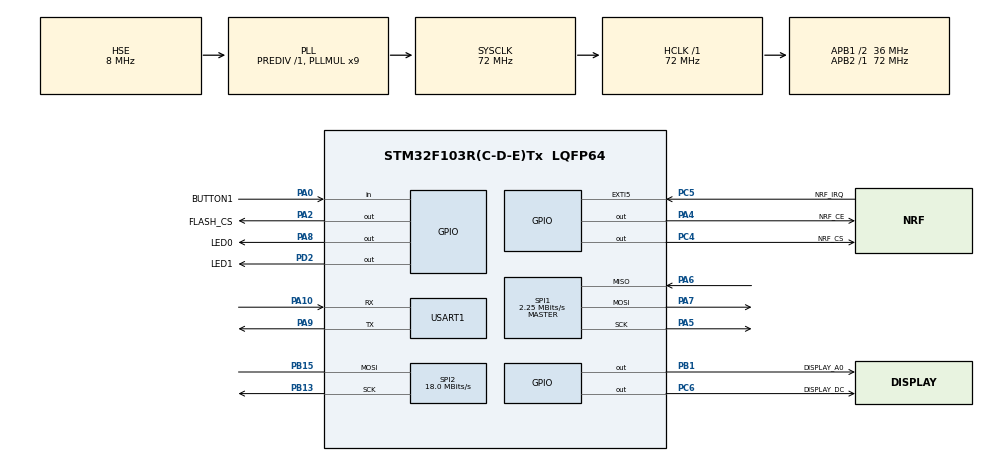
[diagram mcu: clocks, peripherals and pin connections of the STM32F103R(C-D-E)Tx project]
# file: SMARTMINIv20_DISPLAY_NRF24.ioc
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Mcu.Family=STM32F1
Mcu.Name=STM32F103R(C-D-E)Tx
Mcu.Package=LQFP64
NVIC.PriorityGroup=NVIC_PRIORITYGROUP_4
PA0-WKUP.GPIO_Label=BUTTON1
PA0-WKUP.Signal=GPIO_Input
PA10.Mode=Asynchronous
PA10.Signal=USART1_RX
PA13.Mode=Serial_Wire
PA13.Signal=SYS_JTMS-SWDIO
PA14.Mode=Serial_Wire
PA14.Signal=SYS_JTCK-SWCLK
PA2.GPIO_Label=FLASH_CS
PA2.Signal=GPIO_Output
PA4.GPIO_Label=NRF_CE
PA4.GPIO_Speed=GPIO_SPEED_FREQ_HIGH
PA4.Signal=GPIO_Output
PA5.Mode=Full_Duplex_Master
PA5.Signal=SPI1_SCK
PA6.Mode=Full_Duplex_Master
PA6.Signal=SPI1_MISO
PA7.Mode=Full_Duplex_Master
PA7.Signal=SPI1_MOSI
PA8.GPIO_Label=LED0
PA8.Signal=GPIO_Output
PA9.Mode=Asynchronous
PA9.Signal=USART1_TX
PB1.GPIO_Label=DISPLAY_A0
PB1.GPIO_Speed=GPIO_SPEED_FREQ_HIGH
PB1.Signal=GPIO_Output
PB13.Mode=Simplex_Bidirectional_Master
PB13.Signal=SPI2_SCK
PB15.Mode=Simplex_Bidirectional_Master
PB15.Signal=SPI2_MOSI
PC14-OSC32_IN.Mode=LSE-External-Oscillator
PC14-OSC32_IN.Signal=RCC_OSC32_IN
PC15-OSC32_OUT.Mode=LSE-External-Oscillator
PC15-OSC32_OUT.Signal=RCC_OSC32_OUT
PC4.GPIO_Label=NRF_CS
PC4.GPIO_Speed=GPIO_SPEED_FREQ_HIGH
PC4.Signal=GPIO_Output
PC5.GPIO_Label=NRF_IRQ
PC5.Signal=GPXTI5
PC6.GPIO_Label=DISPLAY_DC
PC6.GPIO_Speed=GPIO_SPEED_FREQ_HIGH
PC6.Signal=GPIO_Output
PD0-OSC_IN.Mode=HSE-External-Oscillator
PD0-OSC_IN.Signal=RCC_OSC_IN
PD1-OSC_OUT.Mode=HSE-External-Oscillator
PD1-OSC_OUT.Signal=RCC_OSC_OUT
PD2.GPIO_Label=LED1
PD2.Signal=GPIO_Output
ProjectManager.HeapSize=0x200
ProjectManager.StackSize=0x400
ProjectManager.TargetToolchain=STM32CubeIDE
RCC.AHBFreq_Value=72000000
RCC.APB1CLKDivider=RCC_HCLK_DIV2
RCC.APB1Freq_Value=36000000
RCC.APB1TimFreq_Value=72000000
RCC.APB2Freq_Value=72000000
RCC.APB2TimFreq_Value=72000000
RCC.HCLKFreq_Value=72000000
RCC.PLLMUL=RCC_PLL_MUL9
RCC.PLLSourceVirtual=RCC_PLLSOURCE_HSE
RCC.SYSCLKFreq_VALUE=72000000
RCC.SYSCLKSource=RCC_SYSCLKSOURCE_PLLCLK
RCC.USBFreq_Value=72000000
SPI1.BaudRatePrescaler=SPI_BAUDRATEPRESCALER_32
SPI1.CalculateBaudRate=2.25 MBits/s
SPI1.Direction=SPI_DIRECTION_2LINES
SPI1.Mode=SPI_MODE_MASTER
SPI1.VirtualType=VM_MASTER
SPI2.BaudRatePrescaler=SPI_BAUDRATEPRESCALER_2
SPI2.CalculateBaudRate=18.0 MBits/s
SPI2.Direction=SPI_DIRECTION_1LINE
SPI2.Mode=SPI_MODE_MASTER
SPI2.VirtualType=VM_MASTER
TIM3.Prescaler=72-1
USART1.VirtualMode=VM_ASYNC
VP_RTC_VS_RTC_Activate.Mode=RTC_Enabled
VP_RTC_VS_RTC_Calendar.Mode=RTC_Calendar
VP_TIM3_VS_ClockSourceINT.Mode=Internal
board=custom

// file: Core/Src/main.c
/* USER CODE BEGIN Header */
/**
 ******************************************************************************
 * @file           : main.c
 * @brief          : Main program body
 ******************************************************************************
 * @attention
 *
 * Copyright (c) 2025 STMicroelectronics.
 * All rights reserved.
 *
 * This software is licensed under terms that can be found in the LICENSE file
 * in the root directory of this software component.
 * If no LICENSE file comes with this software, it is provided AS-IS.
 *
 ******************************************************************************
 */
/* USER CODE END Header */
#include "main.h"

/* USER CODE BEGIN Includes */
#include <stdio.h>
#include <string.h>
#include "NRF24.h"

#include "NRF24_reg_addresses.h"
#include "fonts.h"
#include "st7735.h"
/* USER CODE END Includes */

/* USER CODE BEGIN PTD */
#define spi_w_timeout 50  // 50ms for write operations
#define spi_r_timeout 50  // 50ms for read operations
#define spi_rw_timeout 100 // 100ms for full duplex

/* USER CODE END PTD */

/* USER CODE BEGIN PD */
#define TANK

#define PIPE 1
#define MY_CHANNEL 0x6E

#if defined TANK
#define PAYLOAD_SIZE 1 // it is 4 in arduino code and on sender
#else
#define PAYLOAD_SIZE 32
#endif

//+---------+-------+-------+-------+----------+-------+-------+-------+
//|  Bit 7  | Bit 6 | Bit 5 | Bit 4 |  Bit 3   | Bit 2 | Bit 1 | Bit 0 |
//+--------------------------------------------------------------------+
//| leftDir |<------ leftSpeed ---->| rightDir | <--- rightSpeed --->  |
//+--------------------------------------------------------------------+

const uint64_t deviceID = 0xE8E8F0F0E1LL;  // Define the ID for this slave
const uint64_t transmitterId = 0x544d52687CLL;
// Pipe and address matching
uint8_t tx_addr[5] = { 0x7C, 0x68, 0x52, 0x4D, 0x54 }; // transmitterId in little-endian
uint8_t rx_addr[5] = { 0xE1, 0xF0, 0xF0, 0xE8, 0xE8 }; // deviceID in little-endian
uint16_t data = 0;

uint8_t dataR[PAYLOAD_SIZE];

/* USER CODE END PD */

RTC_HandleTypeDef hrtc;

SPI_HandleTypeDef hspi1;
SPI_HandleTypeDef hspi2;

TIM_HandleTypeDef htim3;

UART_HandleTypeDef huart1;

/* USER CODE BEGIN PV */
bool TX_DataRdy = false;
uint8_t RxData[32] = { 0x00 };
uint8_t rxcount = 0, rxBuf = { 0x00 };

uint8_t ack_payload[2] = { 12, 0 };

uint8_t *ack_bytes = (uint8_t*) ack_payload;
uint8_t ack_len = sizeof(ack_payload);
/* USER CODE END PV */

void SystemClock_Config(void);
static void MX_GPIO_Init(void);
static void MX_SPI2_Init(void);
static void MX_SPI1_Init(void);
static void MX_RTC_Init(void);
static void MX_USART1_UART_Init(void);
static void MX_TIM3_Init(void);

/* USER CODE BEGIN 0 */
void HAL_UART_RxCpltCallback(UART_HandleTypeDef *huart) {
	if ((rxBuf == '\n') || (rxcount >= 32)) //keep filling the RxData buffer until carriage return
			{
		TX_DataRdy = true; //Let the main loop know data is ready for transmit
		rxcount = 0;
	} else {
		RxData[rxcount++] = rxBuf;
	}
	HAL_UART_Receive_IT(&huart1, &rxBuf, 1);
}

//To get microsecond delays for the nRF24 module
void Delay_us(uint16_t us) {
	__HAL_TIM_SET_COUNTER(&htim3, 0);
	while (__HAL_TIM_GET_COUNTER(&htim3) < us)
		;
}

uint8_t noise_level[126] = { 0 };

bool nrf24_test_rpd() {
	uint8_t rpd = nrf24_r_reg(RPD, 1);
	return (rpd & 0x01) != 0;
}

void nrf24_scan_noise(void) {
	const int samples_per_channel = 100;

	printf("Scanning noise on channels 0–125 (%d samples each)...\r\n",
			samples_per_channel);

	for (uint8_t ch = 0; ch <= 125; ch++) {
		noise_level[ch] = 0;
		nrf24_set_channel(ch);

		for (int i = 0; i < samples_per_channel; i++) {
			nrf24_pwr_up();
			HAL_Delay(1); // 1 ms per sample
			if (nrf24_test_rpd()) {
				noise_level[ch]++;
			}
			nrf24_pwr_dwn();
		}

		// Show mini-bar chart
		printf("CH %3d [%3d]: ", ch, noise_level[ch]);
		int bars = noise_level[ch] / 5;  // max 20 bars for 100 samples
		for (int j = 0; j < bars; j++)
			printf("|");
		printf("\r\n");
	}

	printf("Done scanning.\r\n");
}
/* USER CODE END 0 */

int main(void)
{

  /* MCU Configuration--------------------------------------------------------*/

  /* Reset of all peripherals, Initializes the Flash interface and the Systick. */
  HAL_Init();

  /* Configure the system clock */
  SystemClock_Config();

  /* Initialize all configured peripherals */
  MX_GPIO_Init();
  MX_SPI2_Init();
  MX_SPI1_Init();
  MX_RTC_Init();
  MX_USART1_UART_Init();
  MX_TIM3_Init();
  /* USER CODE BEGIN 2 */
	HAL_UART_Receive_IT(&huart1, &rxBuf, 1);
	HAL_TIM_Base_Start(&htim3);
	nrf24_init();

	nrf24_listen();

	nrf24_tx_pwr(_0dbm); //	  radio.setPALevel(RF24_PA_MAX);

#if defined TANK
	// Communication parameters
	nrf24_data_rate(_250kbps);  // Must match transmitter
	nrf24_set_crc(en_crc, _1byte);

	// ACK configuration
	nrf24_auto_ack(PIPE, enable);  // Enable auto-ack for pipe 1
	nrf24_en_ack_pld(enable);      // Enable ACK payloads
#else
	nrf24_auto_ack_all(disable);

	nrf24_en_ack_pld(disable);
	nrf24_data_rate(_1mbps);
	nrf24_set_crc(no_crc, _1byte);
#endif
	nrf24_dpl(disable);

	nrf24_set_channel(MY_CHANNEL);
	nrf24_set_addr_width(5);

	// No dynamic payloads on pipes
	for (int i = 0; i < 6; i++) {
		nrf24_set_rx_dpl(i, disable);
	}

	// Set payload size for RX pipe 0 (only used pipe)
	nrf24_pipe_pld_size(PIPE, PAYLOAD_SIZE);  // Arduino uses pipe 1 for reading

	// Auto retransmit
	nrf24_auto_retr_delay(4);  // ~1500us
	nrf24_auto_retr_limit(10); // Retry 10 times

	nrf24_open_tx_pipe(rx_addr); //RX TX is mismatch intentionally
	nrf24_open_rx_pipe(PIPE, tx_addr); // Pipe 1 used in Arduino
#if defined TESTNRF
	uint8_t test_value = 0x2A;
	WriteReg(RF_CH, &test_value, 1);
	uint8_t read_value = ReadReg(RF_CH);

	if (read_value == test_value)
	{
	    printf("nRF24 is responsive! RF_CH = 0x%02X\r\n", read_value);
	}
	else
	{
	    printf("nRF24 communication failed. Read: 0x%02X, Expected: 0x%02X\r\n", read_value, test_value);
	}
#endif

	ST7735_Init();
	// Check border
	ST7735_FillScreen(ST7735_BLACK);
	ST7735_WriteString(0, 0, "OK", Font_7x10,
	ST7735_RED, ST7735_BLACK);

	HAL_GPIO_WritePin(LED0_GPIO_Port, LED0_Pin, GPIO_PIN_RESET);
	HAL_GPIO_WritePin(LED1_GPIO_Port, LED1_Pin, GPIO_PIN_SET);
//	nrf24_scan_noise();
  /* USER CODE END 2 */

  /* Infinite loop */
  /* USER CODE BEGIN WHILE */
	char dataR[32];  // global or local depending on your use
	nrf24_listen();

	while (1) {
		HAL_GPIO_TogglePin(LED1_GPIO_Port, LED1_Pin);

		//	printf("While loop\n");
		HAL_Delay(100);

		while (nrf24_data_available()) {
			HAL_GPIO_TogglePin(LED0_GPIO_Port, LED0_Pin);

			nrf24_receive(dataR, PAYLOAD_SIZE);  // receive 1 byte
			csn_low();
			uint8_t cmd = (W_ACK_PAYLOAD | PIPE);
			HAL_SPI_Transmit(&hspi1, &cmd, 1, spi_w_timeout);
			HAL_SPI_Transmit(&hspi1, ack_payload, 2, spi_w_timeout);
			csn_high();
			// Send ACK payload
			//uint8_t ack_payload[2] = { 0x00, 0x12 };
			//nrf24_transmit_rx_ack_pld(PIPE, ack_payload, sizeof(ack_payload));
			// nrf24_receive(dataR, 32);  // always read full payload length
			nrf24_flush_rx();      // flush remaining FIFO to avoid stuck buffer

			//nrf24_write_ack_payload(1, ack_bytes, ack_len);

			// Clear both lines
			ST7735_FillRectangle(0, 0, 160, 18, ST7735_BLACK);   // line 1
			ST7735_FillRectangle(0, 18, 160, 18, ST7735_BLACK);  // line 2

			// Display the command character (first line)
			//char direction[2] = { dataR[0], '\0' };  // direction letter

			char command = dataR[0];

			int leftSpeed = (command & 0x70) >> 4;
			int leftDir = (command & 0x80) >> 7;
			int rightSpeed = (command & 0x07);
			int rightDir = (command & 0x08) >> 3;

			const char *direction = "S";  // default Stop

			if (leftSpeed == 0 && rightSpeed == 0) {
				direction = "S";  // Stop
			} else if (leftDir == 0 && rightDir == 0) {
				direction = "F";  // Forward
			} else if (leftDir == 1 && rightDir == 1) {
				direction = "B";  // Backward
			} else if (leftDir == 1 && rightDir == 0) {
				direction = "L";  // Turn Left
			} else if (leftDir == 0 && rightDir == 1) {
				direction = "R";  // Turn Right
			}
			ST7735_WriteString(0, 0, direction, Font_11x18, ST7735_BLACK,
			ST7735_YELLOW);

			// Display raw hex value (second line)
			char debugHex[8];
			snprintf(debugHex, sizeof(debugHex), "0x%02X", (uint8_t) dataR[0]);

			printf(debugHex);
			printf("\n");
			memset(dataR, 0x00, 32);  // optional cleanup

		}
//		nrf24_listen();
//
//		if (nrf24_data_available()) {
//			nrf24_receive(dataR, sizeof(dataR));
//			ST7735_WriteString(0, 0, dataR, Font_11x18, ST7735_BLACK, ST7735_YELLOW);
//			memset(dataR, 0x00, 32);
//		}

		if (TX_DataRdy) {
			sprintf(RxData, "Hello World!");

			printf("TX :%s \r\n", RxData);

			TX_DataRdy = false;
			memset(RxData, 0x00, 32);
		}
    /* USER CODE END WHILE */

	}
}

void SystemClock_Config(void)
{
  RCC_OscInitTypeDef RCC_OscInitStruct = {0};
  RCC_ClkInitTypeDef RCC_ClkInitStruct = {0};
  RCC_PeriphCLKInitTypeDef PeriphClkInit = {0};

  /** Initializes the RCC Oscillators according to the specified parameters
  * in the RCC_OscInitTypeDef structure.
  */
  RCC_OscInitStruct.OscillatorType = RCC_OSCILLATORTYPE_LSI|RCC_OSCILLATORTYPE_HSE;
  RCC_OscInitStruct.HSEState = RCC_HSE_ON;
  RCC_OscInitStruct.HSEPredivValue = RCC_HSE_PREDIV_DIV1;
  RCC_OscInitStruct.HSIState = RCC_HSI_ON;
  RCC_OscInitStruct.LSIState = RCC_LSI_ON;
  RCC_OscInitStruct.PLL.PLLState = RCC_PLL_ON;
  RCC_OscInitStruct.PLL.PLLSource = RCC_PLLSOURCE_HSE;
  RCC_OscInitStruct.PLL.PLLMUL = RCC_PLL_MUL9;
  if (HAL_RCC_OscConfig(&RCC_OscInitStruct) != HAL_OK)
  {
    Error_Handler();
  }

  /** Initializes the CPU, AHB and APB buses clocks
  */
  RCC_ClkInitStruct.ClockType = RCC_CLOCKTYPE_HCLK|RCC_CLOCKTYPE_SYSCLK
                              |RCC_CLOCKTYPE_PCLK1|RCC_CLOCKTYPE_PCLK2;
  RCC_ClkInitStruct.SYSCLKSource = RCC_SYSCLKSOURCE_PLLCLK;
  RCC_ClkInitStruct.AHBCLKDivider = RCC_SYSCLK_DIV1;
  RCC_ClkInitStruct.APB1CLKDivider = RCC_HCLK_DIV2;
  RCC_ClkInitStruct.APB2CLKDivider = RCC_HCLK_DIV1;

  if (HAL_RCC_ClockConfig(&RCC_ClkInitStruct, FLASH_LATENCY_2) != HAL_OK)
  {
    Error_Handler();
  }
  PeriphClkInit.PeriphClockSelection = RCC_PERIPHCLK_RTC;
  PeriphClkInit.RTCClockSelection = RCC_RTCCLKSOURCE_LSI;
  if (HAL_RCCEx_PeriphCLKConfig(&PeriphClkInit) != HAL_OK)
  {
    Error_Handler();
  }
}

static void MX_RTC_Init(void)
{

  RTC_TimeTypeDef sTime = {0};
  RTC_DateTypeDef DateToUpdate = {0};

  /** Initialize RTC Only
  */
  hrtc.Instance = RTC;
  hrtc.Init.AsynchPrediv = RTC_AUTO_1_SECOND;
  hrtc.Init.OutPut = RTC_OUTPUTSOURCE_ALARM;
  if (HAL_RTC_Init(&hrtc) != HAL_OK)
  {
    Error_Handler();
  }

  /** Initialize RTC and set the Time and Date
  */
  sTime.Hours = 0x0;
  sTime.Minutes = 0x0;
  sTime.Seconds = 0x0;

  if (HAL_RTC_SetTime(&hrtc, &sTime, RTC_FORMAT_BCD) != HAL_OK)
  {
    Error_Handler();
  }
  DateToUpdate.WeekDay = RTC_WEEKDAY_MONDAY;
  DateToUpdate.Month = RTC_MONTH_JANUARY;
  DateToUpdate.Date = 0x1;
  DateToUpdate.Year = 0x0;

  if (HAL_RTC_SetDate(&hrtc, &DateToUpdate, RTC_FORMAT_BCD) != HAL_OK)
  {
    Error_Handler();
  }

}

static void MX_SPI1_Init(void)
{

  /* SPI1 parameter configuration*/
  hspi1.Instance = SPI1;
  hspi1.Init.Mode = SPI_MODE_MASTER;
  hspi1.Init.Direction = SPI_DIRECTION_2LINES;
  hspi1.Init.DataSize = SPI_DATASIZE_8BIT;
  hspi1.Init.CLKPolarity = SPI_POLARITY_LOW;
  hspi1.Init.CLKPhase = SPI_PHASE_1EDGE;
  hspi1.Init.NSS = SPI_NSS_SOFT;
  hspi1.Init.BaudRatePrescaler = SPI_BAUDRATEPRESCALER_32;
  hspi1.Init.FirstBit = SPI_FIRSTBIT_MSB;
  hspi1.Init.TIMode = SPI_TIMODE_DISABLE;
  hspi1.Init.CRCCalculation = SPI_CRCCALCULATION_DISABLE;
  hspi1.Init.CRCPolynomial = 10;
  if (HAL_SPI_Init(&hspi1) != HAL_OK)
  {
    Error_Handler();
  }

}

static void MX_SPI2_Init(void)
{

  /* SPI2 parameter configuration*/
  hspi2.Instance = SPI2;
  hspi2.Init.Mode = SPI_MODE_MASTER;
  hspi2.Init.Direction = SPI_DIRECTION_1LINE;
  hspi2.Init.DataSize = SPI_DATASIZE_8BIT;
  hspi2.Init.CLKPolarity = SPI_POLARITY_LOW;
  hspi2.Init.CLKPhase = SPI_PHASE_1EDGE;
  hspi2.Init.NSS = SPI_NSS_SOFT;
  hspi2.Init.BaudRatePrescaler = SPI_BAUDRATEPRESCALER_2;
  hspi2.Init.FirstBit = SPI_FIRSTBIT_MSB;
  hspi2.Init.TIMode = SPI_TIMODE_DISABLE;
  hspi2.Init.CRCCalculation = SPI_CRCCALCULATION_DISABLE;
  hspi2.Init.CRCPolynomial = 10;
  if (HAL_SPI_Init(&hspi2) != HAL_OK)
  {
    Error_Handler();
  }

}

static void MX_TIM3_Init(void)
{

  TIM_ClockConfigTypeDef sClockSourceConfig = {0};
  TIM_MasterConfigTypeDef sMasterConfig = {0};

  htim3.Instance = TIM3;
  htim3.Init.Prescaler = 72-1;
  htim3.Init.CounterMode = TIM_COUNTERMODE_UP;
  htim3.Init.Period = 65535;
  htim3.Init.ClockDivision = TIM_CLOCKDIVISION_DIV1;
  htim3.Init.AutoReloadPreload = TIM_AUTORELOAD_PRELOAD_DISABLE;
  if (HAL_TIM_Base_Init(&htim3) != HAL_OK)
  {
    Error_Handler();
  }
  sClockSourceConfig.ClockSource = TIM_CLOCKSOURCE_INTERNAL;
  if (HAL_TIM_ConfigClockSource(&htim3, &sClockSourceConfig) != HAL_OK)
  {
    Error_Handler();
  }
  sMasterConfig.MasterOutputTrigger = TIM_TRGO_RESET;
  sMasterConfig.MasterSlaveMode = TIM_MASTERSLAVEMODE_DISABLE;
  if (HAL_TIMEx_MasterConfigSynchronization(&htim3, &sMasterConfig) != HAL_OK)
  {
    Error_Handler();
  }

}

static void MX_USART1_UART_Init(void)
{

  huart1.Instance = USART1;
  huart1.Init.BaudRate = 115200;
  huart1.Init.WordLength = UART_WORDLENGTH_8B;
  huart1.Init.StopBits = UART_STOPBITS_1;
  huart1.Init.Parity = UART_PARITY_NONE;
  huart1.Init.Mode = UART_MODE_TX_RX;
  huart1.Init.HwFlowCtl = UART_HWCONTROL_NONE;
  huart1.Init.OverSampling = UART_OVERSAMPLING_16;
  if (HAL_UART_Init(&huart1) != HAL_OK)
  {
    Error_Handler();
  }

}

static void MX_GPIO_Init(void)
{
  GPIO_InitTypeDef GPIO_InitStruct = {0};

  /* GPIO Ports Clock Enable */
  __HAL_RCC_GPIOC_CLK_ENABLE();
  __HAL_RCC_GPIOD_CLK_ENABLE();
  __HAL_RCC_GPIOA_CLK_ENABLE();
  __HAL_RCC_GPIOB_CLK_ENABLE();

  /*Configure GPIO pin Output Level */
  HAL_GPIO_WritePin(GPIOA, FLASH_CS_Pin|NRF_CE_Pin|LED0_Pin, GPIO_PIN_RESET);

  /*Configure GPIO pin Output Level */
  HAL_GPIO_WritePin(GPIOC, NRF_CS_Pin|DISPLAY_DC_Pin, GPIO_PIN_RESET);

  /*Configure GPIO pin Output Level */
  HAL_GPIO_WritePin(DISPLAY_A0_GPIO_Port, DISPLAY_A0_Pin, GPIO_PIN_RESET);

  /*Configure GPIO pin Output Level */
  HAL_GPIO_WritePin(LED1_GPIO_Port, LED1_Pin, GPIO_PIN_RESET);

  /*Configure GPIO pin : BUTTON1_Pin */
  GPIO_InitStruct.Pin = BUTTON1_Pin;
  GPIO_InitStruct.Mode = GPIO_MODE_INPUT;
  GPIO_InitStruct.Pull = GPIO_NOPULL;
  HAL_GPIO_Init(BUTTON1_GPIO_Port, &GPIO_InitStruct);

  /*Configure GPIO pins : FLASH_CS_Pin LED0_Pin */
  GPIO_InitStruct.Pin = FLASH_CS_Pin|LED0_Pin;
  GPIO_InitStruct.Mode = GPIO_MODE_OUTPUT_PP;
  GPIO_InitStruct.Pull = GPIO_NOPULL;
  GPIO_InitStruct.Speed = GPIO_SPEED_FREQ_LOW;
  HAL_GPIO_Init(GPIOA, &GPIO_InitStruct);

  /*Configure GPIO pin : NRF_CE_Pin */
  GPIO_InitStruct.Pin = NRF_CE_Pin;
  GPIO_InitStruct.Mode = GPIO_MODE_OUTPUT_PP;
  GPIO_InitStruct.Pull = GPIO_NOPULL;
  GPIO_InitStruct.Speed = GPIO_SPEED_FREQ_HIGH;
  HAL_GPIO_Init(NRF_CE_GPIO_Port, &GPIO_InitStruct);

  /*Configure GPIO pins : NRF_CS_Pin DISPLAY_DC_Pin */
  GPIO_InitStruct.Pin = NRF_CS_Pin|DISPLAY_DC_Pin;
  GPIO_InitStruct.Mode = GPIO_MODE_OUTPUT_PP;
  GPIO_InitStruct.Pull = GPIO_NOPULL;
  GPIO_InitStruct.Speed = GPIO_SPEED_FREQ_HIGH;
  HAL_GPIO_Init(GPIOC, &GPIO_InitStruct);

  /*Configure GPIO pin : NRF_IRQ_Pin */
  GPIO_InitStruct.Pin = NRF_IRQ_Pin;
  GPIO_InitStruct.Mode = GPIO_MODE_IT_RISING;
  GPIO_InitStruct.Pull = GPIO_NOPULL;
  HAL_GPIO_Init(NRF_IRQ_GPIO_Port, &GPIO_InitStruct);

  /*Configure GPIO pin : DISPLAY_A0_Pin */
  GPIO_InitStruct.Pin = DISPLAY_A0_Pin;
  GPIO_InitStruct.Mode = GPIO_MODE_OUTPUT_PP;
  GPIO_InitStruct.Pull = GPIO_NOPULL;
  GPIO_InitStruct.Speed = GPIO_SPEED_FREQ_HIGH;
  HAL_GPIO_Init(DISPLAY_A0_GPIO_Port, &GPIO_InitStruct);

  /*Configure GPIO pin : LED1_Pin */
  GPIO_InitStruct.Pin = LED1_Pin;
  GPIO_InitStruct.Mode = GPIO_MODE_OUTPUT_PP;
  GPIO_InitStruct.Pull = GPIO_NOPULL;
  GPIO_InitStruct.Speed = GPIO_SPEED_FREQ_LOW;
  HAL_GPIO_Init(LED1_GPIO_Port, &GPIO_InitStruct);

}

/* USER CODE BEGIN 4 */
/* Send a char through ITM */
int _write(int file, char *ptr, int len) {
	int DataIdx;
	for (DataIdx = 0; DataIdx < len; DataIdx++) {
		ITM_SendChar(*ptr++);
	}
	return len;
}
/* USER CODE END 4 */

void Error_Handler(void)
{
	__disable_irq();
	while (1) {
	}
}
